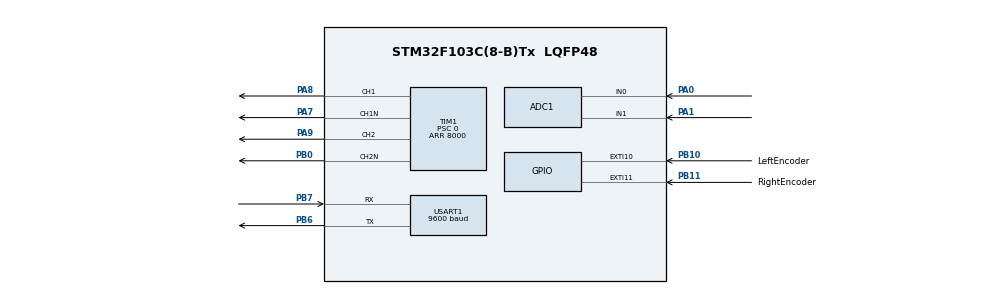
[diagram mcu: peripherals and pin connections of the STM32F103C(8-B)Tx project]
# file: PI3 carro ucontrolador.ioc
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ADC1.Channel-0\#ChannelRegularConversion=ADC_CHANNEL_0
ADC1.Channel-1\#ChannelRegularConversion=ADC_CHANNEL_1
ADC1.ContinuousConvMode=ENABLE
ADC1.InjNumberOfConversion=0
ADC1.NbrOfConversion=2
ADC1.NbrOfConversionFlag=1
ADC1.Rank-0\#ChannelRegularConversion=1
ADC1.Rank-1\#ChannelRegularConversion=2
ADC1.SamplingTime-0\#ChannelRegularConversion=ADC_SAMPLETIME_55CYCLES_5
ADC1.SamplingTime-1\#ChannelRegularConversion=ADC_SAMPLETIME_55CYCLES_5
ADC1.master=1
Mcu.Family=STM32F1
Mcu.Name=STM32F103C(8-B)Tx
Mcu.Package=LQFP48
NVIC.ADC1_2_IRQn=true\:0\:0\:false\:false\:true\:true\:true
NVIC.EXTI15_10_IRQn=true\:0\:0\:false\:false\:true\:true\:true
NVIC.PriorityGroup=NVIC_PRIORITYGROUP_4
NVIC.TIM2_IRQn=true\:0\:0\:false\:false\:true\:true\:true
NVIC.USART1_IRQn=true\:0\:0\:false\:false\:true\:true\:true
PA0-WKUP.Signal=ADCx_IN0
PA1.Signal=ADCx_IN1
PA13.Mode=Serial_Wire
PA13.Signal=SYS_JTMS-SWDIO
PA14.Mode=Serial_Wire
PA14.Signal=SYS_JTCK-SWCLK
PA7.Mode=PWM Generation1 CH1 CH1N
PA7.Signal=TIM1_CH1N
PA8.Signal=S_TIM1_CH1
PA9.Signal=S_TIM1_CH2
PB0.Mode=PWM Generation2 CH2 CH2N
PB0.Signal=TIM1_CH2N
PB10.GPIO_Label=LeftEncoder
PB10.GPIO_ModeDefaultEXTI=GPIO_MODE_IT_RISING
PB10.GPIO_PuPd=GPIO_PULLDOWN
PB10.Signal=GPXTI10
PB11.GPIO_Label=RightEncoder
PB11.GPIO_PuPd=GPIO_PULLDOWN
PB11.Signal=GPXTI11
PB6.Mode=Asynchronous
PB6.Signal=USART1_TX
PB7.Mode=Asynchronous
PB7.Signal=USART1_RX
ProjectManager.HeapSize=0x200
ProjectManager.StackSize=0x400
ProjectManager.TargetToolchain=TrueSTUDIO
RCC.APB1Freq_Value=8000000
RCC.APB2Freq_Value=8000000
SH.ADCx_IN0.0=ADC1_IN0,IN0
SH.ADCx_IN1.0=ADC1_IN1,IN1
SH.S_TIM1_CH1.0=TIM1_CH1,PWM Generation1 CH1 CH1N
SH.S_TIM1_CH2.0=TIM1_CH2,PWM Generation2 CH2 CH2N
TIM1.AutomaticOutput=TIM_AUTOMATICOUTPUT_ENABLE
TIM1.Channel-PWM\ Generation1\ CH1\ CH1N=TIM_CHANNEL_1
TIM1.Channel-PWM\ Generation2\ CH2\ CH2N=TIM_CHANNEL_2
TIM1.ClockDivision=TIM_CLOCKDIVISION_DIV1
TIM1.OCMode_PWM-PWM\ Generation1\ CH1\ CH1N=TIM_OCMODE_PWM1
TIM1.OCNIdleState_1=TIM_OCNIDLESTATE_RESET
TIM1.OCNPolarity_1=TIM_OCNPOLARITY_HIGH
TIM1.Period=8000
TIM1.Prescaler=0
TIM1.Pulse-PWM\ Generation1\ CH1\ CH1N=5000
TIM1.Pulse-PWM\ Generation2\ CH2\ CH2N=1000
TIM1.RepetitionCounter=0
TIM2.ClockDivision=TIM_CLOCKDIVISION_DIV2
TIM2.Period=39999
TIM2.Prescaler=19
USART1.BaudRate=9600
USART1.VirtualMode=VM_ASYNC
USART1.WordLength=WORDLENGTH_8B
VP_TIM1_VS_ClockSourceINT.Mode=Internal
VP_TIM2_VS_ClockSourceINT.Mode=Internal
board=custom

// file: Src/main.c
/* USER CODE BEGIN Header */
/**
  ******************************************************************************
  * @file           : main.c
  * @brief          : Main program body
  ******************************************************************************
  * @attention
  *
  * <h2><center>&copy; Copyright (c) 2019 STMicroelectronics.
  * All rights reserved.</center></h2>
  *
  * This software component is licensed by ST under BSD 3-Clause license,
  * the "License"; You may not use this file except in compliance with the
  * License. You may obtain a copy of the License at:
  *                        opensource.org/licenses/BSD-3-Clause
  *
  ******************************************************************************
  */
/* USER CODE END Header */

#include "main.h"

/* USER CODE BEGIN Includes */
//#include "i2c-lcd.h"
//#include <stdio.h>
#include <stdlib.h>
#include <string.h>

/* USER CODE END Includes */

/* USER CODE BEGIN PTD */

#define ConstanteDeVelocidade 23//23,67 	// (distanciaPorPulso/tempo)*0,036 para km/h 1.052433539/100m

/* USER CODE END PTD */

ADC_HandleTypeDef hadc1;

TIM_HandleTypeDef htim1;
TIM_HandleTypeDef htim2;

UART_HandleTypeDef huart1;

void SystemClock_Config(void);
static void MX_GPIO_Init(void);
static void MX_TIM1_Init(void);
static void MX_USART1_UART_Init(void);
static void MX_ADC1_Init(void);
static void MX_TIM2_Init(void);
/* USER CODE BEGIN PFP */

void SetDirecao();
int SomaMovel(int novaAquisicao,int valorAtual,int *it,int*buf);

/* USER CODE END PFP */

/* USER CODE BEGIN 0 */

volatile uint8_t z=127;
volatile uint8_t y=127;
volatile int toggleLeftEncoder=0;
volatile int toggleRightEncoder=0;
volatile int velocidadeR=0;
volatile int velocidadeL=0;
int BufferR[16]={0};
int k=0;
int BufferL[16]={0};
int m=0;
char txBuffer[32]={0};
char tx2Buffer[20]={0};
char rxBuffer[24];

volatile int adc_value_1;
volatile int adc_value_2;

/* USER CODE END 0 */

int main(void)
{

  /* MCU Configuration--------------------------------------------------------*/

  /* Reset of all peripherals, Initializes the Flash interface and the Systick. */
  HAL_Init();

  /* Configure the system clock */
  SystemClock_Config();

  /* Initialize all configured peripherals */
  MX_GPIO_Init();
  MX_TIM1_Init();
  MX_USART1_UART_Init();
  MX_ADC1_Init();
  MX_TIM2_Init();
  /* USER CODE BEGIN 2 */
  HAL_TIM_Base_Start_IT(&htim1);
  HAL_TIM_Base_Start_IT(&htim2);
  HAL_ADC_Init(&hadc1);

//  HAL_TIM_PWM_Start(&htim1,TIM_CHANNEL_1);
//  HAL_TIMEx_PWMN_Start(&htim1,TIM_CHANNEL_1);
//  HAL_TIM_PWM_Start(&htim1,TIM_CHANNEL_2);
//  HAL_TIMEx_PWMN_Start(&htim1,TIM_CHANNEL_2);
  //lcd_init();

	HAL_UART_Receive_IT(&huart1,(uint8_t *)rxBuffer,4);
	//HAL_ADC_Start(&hadc1);
  /* USER CODE END 2 */

  /* Infinite loop */
  /* USER CODE BEGIN WHILE */
  while (1)
  {

	  //ReadAcelerometro();
	  HAL_ADC_Start(&hadc1);
	  HAL_ADC_PollForConversion(&hadc1,100);
	  adc_value_1 = HAL_ADC_GetValue(&hadc1);
	  HAL_ADC_PollForConversion(&hadc1,100);
	  adc_value_2 = HAL_ADC_GetValue(&hadc1);
	  HAL_ADC_Stop(&hadc1);

	  SetDirecao();

    /* USER CODE END WHILE */

  }
}

void SystemClock_Config(void)
{
  RCC_OscInitTypeDef RCC_OscInitStruct = {0};
  RCC_ClkInitTypeDef RCC_ClkInitStruct = {0};
  RCC_PeriphCLKInitTypeDef PeriphClkInit = {0};

  /** Initializes the CPU, AHB and APB busses clocks
  */
  RCC_OscInitStruct.OscillatorType = RCC_OSCILLATORTYPE_HSI;
  RCC_OscInitStruct.HSIState = RCC_HSI_ON;
  RCC_OscInitStruct.HSICalibrationValue = RCC_HSICALIBRATION_DEFAULT;
  RCC_OscInitStruct.PLL.PLLState = RCC_PLL_NONE;
  if (HAL_RCC_OscConfig(&RCC_OscInitStruct) != HAL_OK)
  {
    Error_Handler();
  }
  /** Initializes the CPU, AHB and APB busses clocks
  */
  RCC_ClkInitStruct.ClockType = RCC_CLOCKTYPE_HCLK|RCC_CLOCKTYPE_SYSCLK
                              |RCC_CLOCKTYPE_PCLK1|RCC_CLOCKTYPE_PCLK2;
  RCC_ClkInitStruct.SYSCLKSource = RCC_SYSCLKSOURCE_HSI;
  RCC_ClkInitStruct.AHBCLKDivider = RCC_SYSCLK_DIV1;
  RCC_ClkInitStruct.APB1CLKDivider = RCC_HCLK_DIV1;
  RCC_ClkInitStruct.APB2CLKDivider = RCC_HCLK_DIV1;

  if (HAL_RCC_ClockConfig(&RCC_ClkInitStruct, FLASH_LATENCY_0) != HAL_OK)
  {
    Error_Handler();
  }
  PeriphClkInit.PeriphClockSelection = RCC_PERIPHCLK_ADC;
  PeriphClkInit.AdcClockSelection = RCC_ADCPCLK2_DIV2;
  if (HAL_RCCEx_PeriphCLKConfig(&PeriphClkInit) != HAL_OK)
  {
    Error_Handler();
  }
}

static void MX_ADC1_Init(void)
{

  ADC_ChannelConfTypeDef sConfig = {0};

  /** Common config
  */
  hadc1.Instance = ADC1;
  hadc1.Init.ScanConvMode = ADC_SCAN_ENABLE;
  hadc1.Init.ContinuousConvMode = ENABLE;
  hadc1.Init.DiscontinuousConvMode = DISABLE;
  hadc1.Init.ExternalTrigConv = ADC_SOFTWARE_START;
  hadc1.Init.DataAlign = ADC_DATAALIGN_RIGHT;
  hadc1.Init.NbrOfConversion = 2;
  if (HAL_ADC_Init(&hadc1) != HAL_OK)
  {
    Error_Handler();
  }
  /** Configure Regular Channel
  */
  sConfig.Channel = ADC_CHANNEL_0;
  sConfig.Rank = ADC_REGULAR_RANK_1;
  sConfig.SamplingTime = ADC_SAMPLETIME_55CYCLES_5;
  if (HAL_ADC_ConfigChannel(&hadc1, &sConfig) != HAL_OK)
  {
    Error_Handler();
  }
  /** Configure Regular Channel
  */
  sConfig.Channel = ADC_CHANNEL_1;
  sConfig.Rank = ADC_REGULAR_RANK_2;
  if (HAL_ADC_ConfigChannel(&hadc1, &sConfig) != HAL_OK)
  {
    Error_Handler();
  }

}

static void MX_TIM1_Init(void)
{

  TIM_ClockConfigTypeDef sClockSourceConfig = {0};
  TIM_MasterConfigTypeDef sMasterConfig = {0};
  TIM_OC_InitTypeDef sConfigOC = {0};
  TIM_BreakDeadTimeConfigTypeDef sBreakDeadTimeConfig = {0};

  htim1.Instance = TIM1;
  htim1.Init.Prescaler = 0;
  htim1.Init.CounterMode = TIM_COUNTERMODE_UP;
  htim1.Init.Period = 8000;
  htim1.Init.ClockDivision = TIM_CLOCKDIVISION_DIV1;
  htim1.Init.RepetitionCounter = 0;
  htim1.Init.AutoReloadPreload = TIM_AUTORELOAD_PRELOAD_DISABLE;
  if (HAL_TIM_Base_Init(&htim1) != HAL_OK)
  {
    Error_Handler();
  }
  sClockSourceConfig.ClockSource = TIM_CLOCKSOURCE_INTERNAL;
  if (HAL_TIM_ConfigClockSource(&htim1, &sClockSourceConfig) != HAL_OK)
  {
    Error_Handler();
  }
  if (HAL_TIM_PWM_Init(&htim1) != HAL_OK)
  {
    Error_Handler();
  }
  sMasterConfig.MasterOutputTrigger = TIM_TRGO_RESET;
  sMasterConfig.MasterSlaveMode = TIM_MASTERSLAVEMODE_DISABLE;
  if (HAL_TIMEx_MasterConfigSynchronization(&htim1, &sMasterConfig) != HAL_OK)
  {
    Error_Handler();
  }
  sConfigOC.OCMode = TIM_OCMODE_PWM1;
  sConfigOC.Pulse = 5000;
  sConfigOC.OCPolarity = TIM_OCPOLARITY_HIGH;
  sConfigOC.OCNPolarity = TIM_OCNPOLARITY_HIGH;
  sConfigOC.OCFastMode = TIM_OCFAST_DISABLE;
  sConfigOC.OCIdleState = TIM_OCIDLESTATE_RESET;
  sConfigOC.OCNIdleState = TIM_OCNIDLESTATE_RESET;
  if (HAL_TIM_PWM_ConfigChannel(&htim1, &sConfigOC, TIM_CHANNEL_1) != HAL_OK)
  {
    Error_Handler();
  }
  sConfigOC.Pulse = 1000;
  if (HAL_TIM_PWM_ConfigChannel(&htim1, &sConfigOC, TIM_CHANNEL_2) != HAL_OK)
  {
    Error_Handler();
  }
  sBreakDeadTimeConfig.OffStateRunMode = TIM_OSSR_DISABLE;
  sBreakDeadTimeConfig.OffStateIDLEMode = TIM_OSSI_DISABLE;
  sBreakDeadTimeConfig.LockLevel = TIM_LOCKLEVEL_OFF;
  sBreakDeadTimeConfig.DeadTime = 0;
  sBreakDeadTimeConfig.BreakState = TIM_BREAK_DISABLE;
  sBreakDeadTimeConfig.BreakPolarity = TIM_BREAKPOLARITY_HIGH;
  sBreakDeadTimeConfig.AutomaticOutput = TIM_AUTOMATICOUTPUT_ENABLE;
  if (HAL_TIMEx_ConfigBreakDeadTime(&htim1, &sBreakDeadTimeConfig) != HAL_OK)
  {
    Error_Handler();
  }
  HAL_TIM_MspPostInit(&htim1);

}

static void MX_TIM2_Init(void)
{

  TIM_ClockConfigTypeDef sClockSourceConfig = {0};
  TIM_MasterConfigTypeDef sMasterConfig = {0};

  htim2.Instance = TIM2;
  htim2.Init.Prescaler = 19;
  htim2.Init.CounterMode = TIM_COUNTERMODE_UP;
  htim2.Init.Period = 39999;
  htim2.Init.ClockDivision = TIM_CLOCKDIVISION_DIV2;
  htim2.Init.AutoReloadPreload = TIM_AUTORELOAD_PRELOAD_DISABLE;
  if (HAL_TIM_Base_Init(&htim2) != HAL_OK)
  {
    Error_Handler();
  }
  sClockSourceConfig.ClockSource = TIM_CLOCKSOURCE_INTERNAL;
  if (HAL_TIM_ConfigClockSource(&htim2, &sClockSourceConfig) != HAL_OK)
  {
    Error_Handler();
  }
  sMasterConfig.MasterOutputTrigger = TIM_TRGO_RESET;
  sMasterConfig.MasterSlaveMode = TIM_MASTERSLAVEMODE_DISABLE;
  if (HAL_TIMEx_MasterConfigSynchronization(&htim2, &sMasterConfig) != HAL_OK)
  {
    Error_Handler();
  }

}

static void MX_USART1_UART_Init(void)
{

  huart1.Instance = USART1;
  huart1.Init.BaudRate = 9600;
  huart1.Init.WordLength = UART_WORDLENGTH_8B;
  huart1.Init.StopBits = UART_STOPBITS_1;
  huart1.Init.Parity = UART_PARITY_NONE;
  huart1.Init.Mode = UART_MODE_TX_RX;
  huart1.Init.HwFlowCtl = UART_HWCONTROL_NONE;
  huart1.Init.OverSampling = UART_OVERSAMPLING_16;
  if (HAL_UART_Init(&huart1) != HAL_OK)
  {
    Error_Handler();
  }

}

static void MX_GPIO_Init(void)
{
  GPIO_InitTypeDef GPIO_InitStruct = {0};

  /* GPIO Ports Clock Enable */
  __HAL_RCC_GPIOA_CLK_ENABLE();
  __HAL_RCC_GPIOB_CLK_ENABLE();

  /*Configure GPIO pins : LeftEncoder_Pin RightEncoder_Pin */
  GPIO_InitStruct.Pin = LeftEncoder_Pin|RightEncoder_Pin;
  GPIO_InitStruct.Mode = GPIO_MODE_IT_RISING;
  GPIO_InitStruct.Pull = GPIO_PULLDOWN;
  HAL_GPIO_Init(GPIOB, &GPIO_InitStruct);

  /* EXTI interrupt init*/
  HAL_NVIC_SetPriority(EXTI15_10_IRQn, 0, 0);
  HAL_NVIC_EnableIRQ(EXTI15_10_IRQn);

}

/* USER CODE BEGIN 4 */

void SetDirecao(){
		int pwm1=0;
		int pwm2=0;
		if(z>140){	// frente
				pwm1=(z-127+(y-127))*24+4100;
				if(pwm1>8000){
					pwm1=8000;
				}
					pwm2=(z-127-(y-127))*24+4100;
				if(pwm2>8000)
					pwm2=8000;

			__HAL_TIM_SET_COMPARE(&htim1, TIM_CHANNEL_1,pwm1);
			__HAL_TIM_SET_COMPARE(&htim1, TIM_CHANNEL_2,pwm2);
			HAL_TIMEx_PWMN_Stop(&htim1,TIM_CHANNEL_1);
			HAL_TIMEx_PWMN_Stop(&htim1,TIM_CHANNEL_2);
			HAL_TIM_PWM_Start(&htim1,TIM_CHANNEL_1);
			HAL_TIM_PWM_Start(&htim1,TIM_CHANNEL_2);
		}
		else if(z<114){	// rИ
			pwm1=(-z+127+(y-127))*24+4100;
			if(pwm1>8000)
				pwm1=8000;
			pwm2=(-z+127-(y-127))*24+4100;
			if(pwm2>8000)
				pwm2=8000;
			__HAL_TIM_SET_COMPARE(&htim1, TIM_CHANNEL_1,pwm1);
			__HAL_TIM_SET_COMPARE(&htim1, TIM_CHANNEL_2,pwm2);
			HAL_TIM_PWM_Stop(&htim1,TIM_CHANNEL_1);
			HAL_TIM_PWM_Stop(&htim1,TIM_CHANNEL_2);
			HAL_TIMEx_PWMN_Start(&htim1, TIM_CHANNEL_1);
			HAL_TIMEx_PWMN_Start(&htim1, TIM_CHANNEL_2);
		}else{ // para
			HAL_TIM_PWM_Stop(&htim1,TIM_CHANNEL_1);
			HAL_TIM_PWM_Stop(&htim1,TIM_CHANNEL_2);
			HAL_TIMEx_PWMN_Stop(&htim1,TIM_CHANNEL_1);
			HAL_TIMEx_PWMN_Stop(&htim1,TIM_CHANNEL_2);
		}

	}

void HAL_UART_RxCpltCallback(UART_HandleTypeDef *huart){
	if(rxBuffer[2]=='\r' && rxBuffer[3]=='\n'){
		y=rxBuffer[0];
		z=rxBuffer[1];
	}
	HAL_UART_Receive_IT(&huart1,(uint8_t *)rxBuffer,4);
}

//void HAL_UART_TxHalfCpltCallback(UART_HandleTypeDef *huart){
//}

 void HAL_GPIO_EXTI_Callback(uint16_t GPIO_Pin)
{
	 if(GPIO_Pin==LeftEncoder_Pin){
	 		 toggleLeftEncoder+=1;
	 }else if(GPIO_Pin==RightEncoder_Pin){
	 		 toggleRightEncoder+=1;
	 }

}

 int nAquisicoesLeft=0;
 int nAquisicoesRight=0;

 void TIM2_IRQHandler(void)
 {
	 nAquisicoesRight=SomaMovel(toggleRightEncoder, nAquisicoesRight,&k,BufferR);
	 nAquisicoesLeft=SomaMovel(toggleLeftEncoder, nAquisicoesLeft,&m,BufferL);
	 toggleRightEncoder=0;
	 toggleLeftEncoder=0;

		//(velocidadeL,(char*)buf,10);
		//HAL_UART_Transmit_IT(&huart1,,4);
	 snprintf(txBuffer,32,"%d;%d;%d;%d\n",ConstanteDeVelocidade*nAquisicoesLeft/200,
			 ConstanteDeVelocidade*nAquisicoesRight/200,(int)(10*adc_value_1*0.00122),(int)(10*adc_value_2*0.00273-10*adc_value_1*0.00122));

	HAL_UART_Transmit_IT(&huart1,(uint8_t *)txBuffer,strlen(txBuffer));

   HAL_TIM_IRQHandler(&htim2);
   //HAL_ADC_Start_IT(&hadc1); // Re-Start ADC1 under Interrupt

 }

 int SomaMovel(int novaAquisicao,int valorAtual,int *it,int*buf){
 	valorAtual=novaAquisicao+valorAtual-buf[*it];
 	buf[*it]=novaAquisicao;
  	*it=*it+1;
    *it=*it&0xF;
  	return valorAtual;
  }

/* USER CODE END 4 */

void Error_Handler(void)
{
}

/************************ (C) COPYRIGHT STMicroelectronics *****END OF FILE****/
